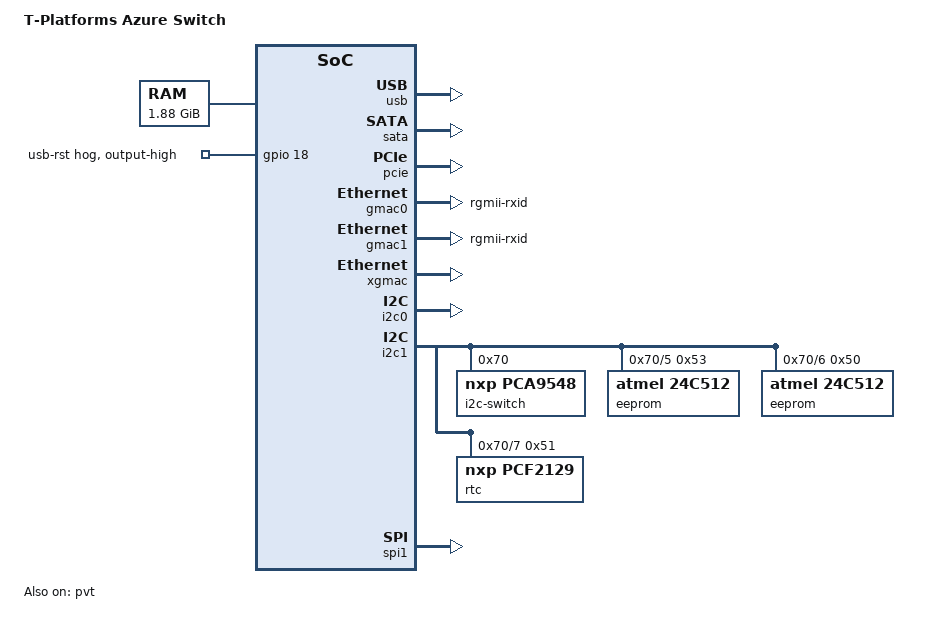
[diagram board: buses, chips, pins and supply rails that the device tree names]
/*
 * T-Platforms Azure (Baikal-T1) board device tree.
 *
 * Copyright (C) 2018-2020 T-Platforms JSC
 *
 * This program is free software; you can redistribute it and/or
 * modify it under the terms of the GNU General Public License
 * as published by the Free Software Foundation; either version 2
 * of the License, or (at your option) any later version.
 */

#include <dt-bindings/interrupt-controller/mips-gic.h>
#include <dt-bindings/gpio/gpio.h>

/dts-v1/;

#include "baikal_t1_soc.dtsi"

/ {
	model = "T-Platforms Azure Switch";
	compatible = "baikal,mips", "baikal,baikal-t1-soc";
	#address-cells = <2>;
	#size-cells = <2>;
	interrupt-parent = <&gic>;

	chosen {
		bootargs = "root=/dev/ram rw console=ttyS0,115200n8 earlyprintk=uart8250,mmio32,0x1F04A000,115200 nohtw";
		linux,initrd-start = <0 0x01000000>;
		linux,initrd-end   = <0 0x02000000>;
	};

	memory {
		device_type = "memory";
		reg = <0 0x00000000 0 0x08000000>,
		      <0 0x20000000 0 0x70000000>;
	};

};

&usb {
	status = "okay";
};

&sata {
	status = "okay";
};

&pcie {
	status = "okay";
};

&gmac0 {
	status = "okay";
	phy-mode = "rgmii-rxid";
};

&gmac1 {
	status = "okay";
	phy-mode = "rgmii-rxid";
};

&xgmac {
	status = "okay";
};

&gpio {
	status = "okay";
	usb_rst_line {
		gpio-hog;
		gpios = <18 0>;
		output-high;
		line-name = "usb-rst";
	};
};

&gpio3 {
	status = "okay";
};

&i2c0 {
	status = "okay";
};

&i2c1 {
	status = "okay";
	i2c-switch@70 {
		compatible = "nxp,pca9548";
		#address-cells = <1>;
		#size-cells = <0>;
		reg = <0x70>;

		i2c@1 {
			#address-cells = <1>;
			#size-cells = <0>;
			reg = <1>;
		};

		i2c@2 {
			#address-cells = <1>;
			#size-cells = <0>;
			reg = <2>;
		};

		i2c@4 {
			#address-cells = <1>;
			#size-cells = <0>;
			reg = <4>;
		};

		i2c@5 {
			#address-cells = <1>;
			#size-cells = <0>;
			reg = <5>;
			eeprom@53 {
				compatible = "atmel,24c512";
				reg = <0x53>;
				pagesize = <128>;
			};
		};

		i2c@6 {
			#address-cells = <1>;
			#size-cells = <0>;
			reg = <6>;
			eeprom@50 {
				compatible = "atmel,24c512";
				reg = <0x50>;
				pagesize = <128>;
			};
		};

		i2c@7 {
			#address-cells = <1>;
			#size-cells = <0>;
			reg = <7>;
			rtc@51 {
				compatible = "nxp,pcf2129";
				reg = <0x51>;
			};
		};
	};
};

&spi1 {
	num-cs = <1>;
	cs-gpios = <0>;
	status = "okay";
};

&pvt {
	status = "okay";
};
